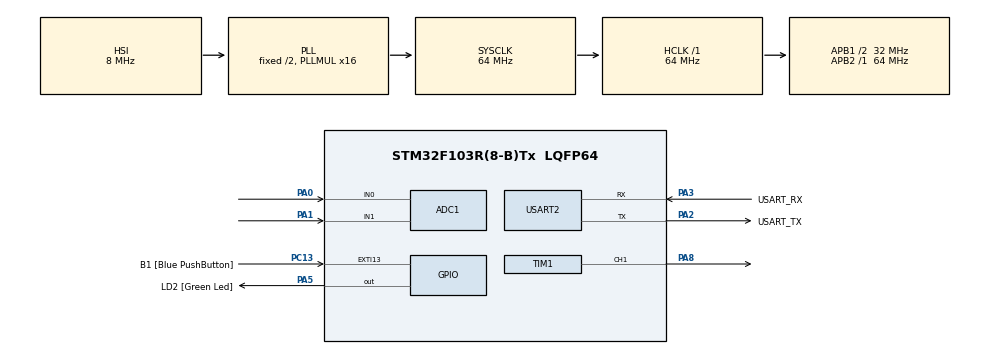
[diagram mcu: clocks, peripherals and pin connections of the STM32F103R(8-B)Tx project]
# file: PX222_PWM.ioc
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ADC1.Channel-0\#ChannelRegularConversion=ADC_CHANNEL_0
ADC1.Channel-1\#ChannelRegularConversion=ADC_CHANNEL_1
ADC1.NbrOfConversion=2
ADC1.NbrOfConversionFlag=1
ADC1.Rank-0\#ChannelRegularConversion=1
ADC1.Rank-1\#ChannelRegularConversion=2
ADC1.SamplingTime-0\#ChannelRegularConversion=ADC_SAMPLETIME_55CYCLES_5
ADC1.SamplingTime-1\#ChannelRegularConversion=ADC_SAMPLETIME_55CYCLES_5
ADC1.master=1
Mcu.Family=STM32F1
Mcu.Name=STM32F103R(8-B)Tx
Mcu.Package=LQFP64
NVIC.EXTI15_10_IRQn=true\:0\:0\:false\:false\:true\:true\:true\:true
NVIC.PriorityGroup=NVIC_PRIORITYGROUP_4
PA0-WKUP.Signal=ADCx_IN0
PA1.Signal=ADCx_IN1
PA13.GPIO_Label=TMS
PA13.Mode=Serial_Wire
PA13.Signal=SYS_JTMS-SWDIO
PA14.GPIO_Label=TCK
PA14.Mode=Serial_Wire
PA14.Signal=SYS_JTCK-SWCLK
PA2.GPIO_Label=USART_TX
PA2.GPIO_Mode=GPIO_MODE_AF_PP
PA2.GPIO_PuPd=GPIO_NOPULL
PA2.GPIO_Speed=GPIO_SPEED_FREQ_LOW
PA2.Mode=Asynchronous
PA2.Signal=USART2_TX
PA3.GPIO_Label=USART_RX
PA3.GPIO_Mode=GPIO_MODE_AF_PP
PA3.GPIO_PuPd=GPIO_NOPULL
PA3.GPIO_Speed=GPIO_SPEED_FREQ_LOW
PA3.Mode=Asynchronous
PA3.Signal=USART2_RX
PA5.GPIO_Label=LD2 [Green Led]
PA5.GPIO_ModeDefaultOutputPP=GPIO_MODE_OUTPUT_PP
PA5.GPIO_PuPd=GPIO_NOPULL
PA5.GPIO_Speed=GPIO_SPEED_FREQ_LOW
PA5.Signal=GPIO_Output
PA8.Signal=S_TIM1_CH1
PB3.GPIO_Label=SWO
PB3.Signal=SYS_JTDO-TRACESWO
PC13-TAMPER-RTC.GPIO_Label=B1 [Blue PushButton]
PC13-TAMPER-RTC.GPIO_PuPd=GPIO_NOPULL
PC13-TAMPER-RTC.Signal=GPXTI13
PC14-OSC32_IN.Mode=LSE-External-Oscillator
PC14-OSC32_IN.Signal=RCC_OSC32_IN
PC15-OSC32_OUT.Mode=LSE-External-Oscillator
PC15-OSC32_OUT.Signal=RCC_OSC32_OUT
PD0-OSC_IN.Mode=HSE-External-Clock-Source
PD0-OSC_IN.Signal=RCC_OSC_IN
PD1-OSC_OUT.Mode=HSE-External-Clock-Source
PD1-OSC_OUT.Signal=RCC_OSC_OUT
ProjectManager.HeapSize=0x200
ProjectManager.StackSize=0x400
ProjectManager.TargetToolchain=STM32CubeIDE
RCC.ADCPresc=RCC_ADCPCLK2_DIV6
RCC.AHBFreq_Value=64000000
RCC.APB1CLKDivider=RCC_HCLK_DIV2
RCC.APB1Freq_Value=32000000
RCC.APB1TimFreq_Value=64000000
RCC.APB2Freq_Value=64000000
RCC.APB2TimFreq_Value=64000000
RCC.HCLKFreq_Value=64000000
RCC.PLLMUL=RCC_PLL_MUL16
RCC.RTCClockSelection=RCC_RTCCLKSOURCE_LSE
RCC.SYSCLKFreq_VALUE=64000000
RCC.SYSCLKSource=RCC_SYSCLKSOURCE_PLLCLK
RCC.USBFreq_Value=64000000
SH.ADCx_IN0.0=ADC1_IN0,IN0
SH.ADCx_IN1.0=ADC1_IN1,IN1
SH.S_TIM1_CH1.0=TIM1_CH1,PWM Generation1 CH1
TIM1.Channel-PWM\ Generation1\ CH1=TIM_CHANNEL_1
TIM1.Period=3271
TIM1.Pulse-PWM\ Generation1\ CH1=1636
USART2.VirtualMode=VM_ASYNC
VP_TIM1_VS_ClockSourceINT.Mode=Internal
board=NUCLEO-F103RB

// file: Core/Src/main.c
/* USER CODE BEGIN Header */
/**
  ******************************************************************************
  * @file           : main.c
  * @brief          : Main program body (Génération d'un signal constant sur PA8)
  ******************************************************************************
  * @attention
  *
  * Copyright (c) 2026 STMicroelectronics.
  * All rights reserved.
  *
  * This software is licensed under terms that can be found in the LICENSE file
  * in the root directory of this software component.
  * If no LICENSE file comes with this software, it is provided AS-IS.
  *
  ******************************************************************************
  */
/* USER CODE END Header */
#include "main.h"

ADC_HandleTypeDef hadc1;

TIM_HandleTypeDef htim1;

UART_HandleTypeDef huart2;

/* USER CODE BEGIN PV */
/* * Définition du rapport cyclique constant pour le test :
 * 0.50f = Neutre (Tension moyenne nulle)
 * 0.58f = Tension constante positive (Idéal pour les tests de puissance à 60V)
 */
#define RAPPORT_CYCLIQUE_TEST  0.58f
/* USER CODE END PV */

void SystemClock_Config(void);
static void MX_GPIO_Init(void);
static void MX_TIM1_Init(void);
static void MX_USART2_UART_Init(void);
static void MX_ADC1_Init(void);

/* USER CODE BEGIN 0 */
static float Saturate(float x, float min, float max)
{
  if (x < min) return min;
  if (x > max) return max;
  return x;
}

/**
  * @brief  Applique le rapport cyclique (alpha) sur le Timer 1 (PA8)
  * @param  alpha : flottant compris entre 0.0f (0%) et 1.0f (100%)
  */
static void PWM_SetAlpha(float alpha)
{
  alpha = Saturate(alpha, 0.0f, 1.0f);

  uint32_t arr = __HAL_TIM_GET_AUTORELOAD(&htim1);
  uint32_t ccr = (uint32_t)(alpha * (float)(arr + 1U));

  if (ccr > arr + 1U)
  {
    ccr = arr + 1U;
  }

  __HAL_TIM_SET_COMPARE(&htim1, TIM_CHANNEL_1, ccr);
}
/* USER CODE END 0 */

int main(void)
{

  /* MCU Configuration--------------------------------------------------------*/

  /* Reset of all peripherals, Initializes the Flash interface and the Systick. */
  HAL_Init();

  /* Configure the system clock */
  SystemClock_Config();

  /* Initialize all configured peripherals */
  MX_GPIO_Init();
  MX_TIM1_Init();
  MX_USART2_UART_Init();
  MX_ADC1_Init();
  /* USER CODE BEGIN 2 */

  /* Démarrage du calibrage ADC (Laissé pour éviter les dérives de mesure) */
  if (HAL_ADCEx_Calibration_Start(&hadc1) != HAL_OK)
  {
    Error_Handler();
  }

  /* Démarrage de la PWM sur le Timer 1 Canal 1 */
  if (HAL_TIM_PWM_Start(&htim1, TIM_CHANNEL_1) != HAL_OK)
  {
    Error_Handler();
  }

  /* Activation de la sortie principale (obligatoire pour TIM1) */
  __HAL_TIM_MOE_ENABLE(&htim1);

  /* Application initiale du rapport cyclique constant de test */
  PWM_SetAlpha(RAPPORT_CYCLIQUE_TEST);

  /* USER CODE END 2 */

  /* Infinite loop */
  /* USER CODE BEGIN WHILE */
  while (1)
  {
    /* * On ré-applique continuellement la valeur fixe de test (58 %).
     * Aucune boucle d'asservissement n'est active ici.
     */
    PWM_SetAlpha(RAPPORT_CYCLIQUE_TEST);

    HAL_Delay(100); // Petite pause pour soulager le processeur
    /* USER CODE END WHILE */

  }
}

void SystemClock_Config(void)
{
  RCC_OscInitTypeDef RCC_OscInitStruct = {0};
  RCC_ClkInitTypeDef RCC_ClkInitStruct = {0};
  RCC_PeriphCLKInitTypeDef PeriphClkInit = {0};

  /** Initializes the RCC Oscillators according to the specified parameters
  * in the RCC_OscInitTypeDef structure.
  */
  RCC_OscInitStruct.OscillatorType = RCC_OSCILLATORTYPE_HSI;
  RCC_OscInitStruct.HSIState = RCC_HSI_ON;
  RCC_OscInitStruct.HSICalibrationValue = RCC_HSICALIBRATION_DEFAULT;
  RCC_OscInitStruct.PLL.PLLState = RCC_PLL_ON;
  RCC_OscInitStruct.PLL.PLLSource = RCC_PLLSOURCE_HSI_DIV2;
  RCC_OscInitStruct.PLL.PLLMUL = RCC_PLL_MUL16;
  if (HAL_RCC_OscConfig(&RCC_OscInitStruct) != HAL_OK)
  {
    Error_Handler();
  }

  /** Initializes the CPU, AHB and APB buses clocks
  */
  RCC_ClkInitStruct.ClockType = RCC_CLOCKTYPE_HCLK|RCC_CLOCKTYPE_SYSCLK
                              |RCC_CLOCKTYPE_PCLK1|RCC_CLOCKTYPE_PCLK2;
  RCC_ClkInitStruct.SYSCLKSource = RCC_SYSCLKSOURCE_PLLCLK;
  RCC_ClkInitStruct.AHBCLKDivider = RCC_SYSCLK_DIV1;
  RCC_ClkInitStruct.APB1CLKDivider = RCC_HCLK_DIV2;
  RCC_ClkInitStruct.APB2CLKDivider = RCC_HCLK_DIV1;

  if (HAL_RCC_ClockConfig(&RCC_ClkInitStruct, FLASH_LATENCY_2) != HAL_OK)
  {
    Error_Handler();
  }
  PeriphClkInit.PeriphClockSelection = RCC_PERIPHCLK_ADC;
  PeriphClkInit.AdcClockSelection = RCC_ADCPCLK2_DIV6;
  if (HAL_RCCEx_PeriphCLKConfig(&PeriphClkInit) != HAL_OK)
  {
    Error_Handler();
  }
}

static void MX_ADC1_Init(void)
{

  ADC_ChannelConfTypeDef sConfig = {0};

  /** Common config
  */
  hadc1.Instance = ADC1;
  hadc1.Init.ScanConvMode = ADC_SCAN_ENABLE;
  hadc1.Init.ContinuousConvMode = DISABLE;
  hadc1.Init.DiscontinuousConvMode = DISABLE;
  hadc1.Init.ExternalTrigConv = ADC_SOFTWARE_START;
  hadc1.Init.DataAlign = ADC_DATAALIGN_RIGHT;
  hadc1.Init.NbrOfConversion = 2;
  if (HAL_ADC_Init(&hadc1) != HAL_OK)
  {
    Error_Handler();
  }

  /** Configure Regular Channel
  */
  sConfig.Channel = ADC_CHANNEL_0;
  sConfig.Rank = ADC_REGULAR_RANK_1;
  sConfig.SamplingTime = ADC_SAMPLETIME_55CYCLES_5;
  if (HAL_ADC_ConfigChannel(&hadc1, &sConfig) != HAL_OK)
  {
    Error_Handler();
  }

  /** Configure Regular Channel
  */
  sConfig.Channel = ADC_CHANNEL_1;
  sConfig.Rank = ADC_REGULAR_RANK_2;
  if (HAL_ADC_ConfigChannel(&hadc1, &sConfig) != HAL_OK)
  {
    Error_Handler();
  }

}

static void MX_TIM1_Init(void)
{

  TIM_ClockConfigTypeDef sClockSourceConfig = {0};
  TIM_MasterConfigTypeDef sMasterConfig = {0};
  TIM_OC_InitTypeDef sConfigOC = {0};
  TIM_BreakDeadTimeConfigTypeDef sBreakDeadTimeConfig = {0};

  htim1.Instance = TIM1;
  htim1.Init.Prescaler = 0;
  htim1.Init.CounterMode = TIM_COUNTERMODE_UP;
  htim1.Init.Period = 2908;
  htim1.Init.ClockDivision = TIM_CLOCKDIVISION_DIV1;
  htim1.Init.RepetitionCounter = 0;
  htim1.Init.AutoReloadPreload = TIM_AUTORELOAD_PRELOAD_DISABLE;
  if (HAL_TIM_Base_Init(&htim1) != HAL_OK)
  {
    Error_Handler();
  }
  sClockSourceConfig.ClockSource = TIM_CLOCKSOURCE_INTERNAL;
  if (HAL_TIM_ConfigClockSource(&htim1, &sClockSourceConfig) != HAL_OK)
  {
    Error_Handler();
  }
  if (HAL_TIM_PWM_Init(&htim1) != HAL_OK)
  {
    Error_Handler();
  }
  sMasterConfig.MasterOutputTrigger = TIM_TRGO_RESET;
  sMasterConfig.MasterSlaveMode = TIM_MASTERSLAVEMODE_DISABLE;
  if (HAL_TIMEx_MasterConfigSynchronization(&htim1, &sMasterConfig) != HAL_OK)
  {
    Error_Handler();
  }
  sConfigOC.OCMode = TIM_OCMODE_PWM1;
  sConfigOC.Pulse = 1454;
  sConfigOC.OCPolarity = TIM_OCPOLARITY_HIGH;
  sConfigOC.OCNPolarity = TIM_OCNPOLARITY_HIGH;
  sConfigOC.OCFastMode = TIM_OCFAST_DISABLE;
  sConfigOC.OCIdleState = TIM_OCIDLESTATE_RESET;
  sConfigOC.OCNIdleState = TIM_OCNIDLESTATE_RESET;
  if (HAL_TIM_PWM_ConfigChannel(&htim1, &sConfigOC, TIM_CHANNEL_1) != HAL_OK)
  {
    Error_Handler();
  }
  sBreakDeadTimeConfig.OffStateRunMode = TIM_OSSR_DISABLE;
  sBreakDeadTimeConfig.OffStateIDLEMode = TIM_OSSI_DISABLE;
  sBreakDeadTimeConfig.LockLevel = TIM_LOCKLEVEL_OFF;
  sBreakDeadTimeConfig.DeadTime = 0;
  sBreakDeadTimeConfig.BreakState = TIM_BREAK_DISABLE;
  sBreakDeadTimeConfig.BreakPolarity = TIM_BREAKPOLARITY_HIGH;
  sBreakDeadTimeConfig.AutomaticOutput = TIM_AUTOMATICOUTPUT_DISABLE;
  if (HAL_TIMEx_ConfigBreakDeadTime(&htim1, &sBreakDeadTimeConfig) != HAL_OK)
  {
    Error_Handler();
  }
  HAL_TIM_MspPostInit(&htim1);

}

static void MX_USART2_UART_Init(void)
{

  huart2.Instance = USART2;
  huart2.Init.BaudRate = 115200;
  huart2.Init.WordLength = UART_WORDLENGTH_8B;
  huart2.Init.StopBits = UART_STOPBITS_1;
  huart2.Init.Parity = UART_PARITY_NONE;
  huart2.Init.Mode = UART_MODE_TX_RX;
  huart2.Init.HwFlowCtl = UART_HWCONTROL_NONE;
  huart2.Init.OverSampling = UART_OVERSAMPLING_16;
  if (HAL_UART_Init(&huart2) != HAL_OK)
  {
    Error_Handler();
  }

}

static void MX_GPIO_Init(void)
{
  GPIO_InitTypeDef GPIO_InitStruct = {0};

  /* GPIO Ports Clock Enable */
  __HAL_RCC_GPIOC_CLK_ENABLE();
  __HAL_RCC_GPIOD_CLK_ENABLE();
  __HAL_RCC_GPIOA_CLK_ENABLE();
  __HAL_RCC_GPIOB_CLK_ENABLE();

  /*Configure GPIO pin Output Level */
  HAL_GPIO_WritePin(LD2_GPIO_Port, LD2_Pin, GPIO_PIN_RESET);

  /*Configure GPIO pin : B1_Pin */
  GPIO_InitStruct.Pin = B1_Pin;
  GPIO_InitStruct.Mode = GPIO_MODE_IT_RISING;
  GPIO_InitStruct.Pull = GPIO_NOPULL;
  HAL_GPIO_Init(B1_GPIO_Port, &GPIO_InitStruct);

  /*Configure GPIO pin : LD2_Pin */
  GPIO_InitStruct.Pin = LD2_Pin;
  GPIO_InitStruct.Mode = GPIO_MODE_OUTPUT_PP;
  GPIO_InitStruct.Pull = GPIO_NOPULL;
  GPIO_InitStruct.Speed = GPIO_SPEED_FREQ_LOW;
  HAL_GPIO_Init(LD2_GPIO_Port, &GPIO_InitStruct);

  /* EXTI interrupt init*/
  HAL_NVIC_SetPriority(EXTI15_10_IRQn, 0, 0);
  HAL_NVIC_EnableIRQ(EXTI15_10_IRQn);

}

void Error_Handler(void)
{
  __disable_irq();
  while (1)
  {
  }
}
